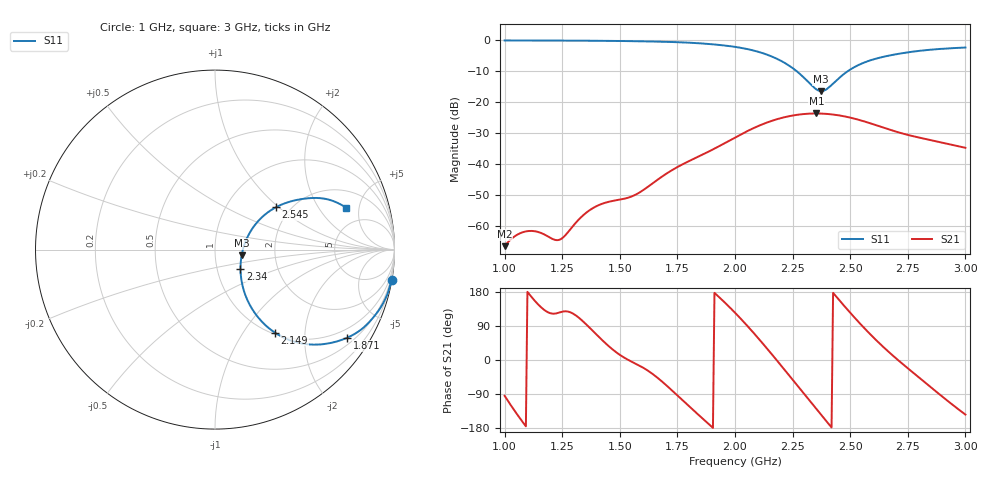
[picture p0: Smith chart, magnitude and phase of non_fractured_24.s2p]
! TOUCHSTONE file generated by CST MICROWAVE STUDIO
! Date and time: Sat Mar  8 13:54:03 2025
! Project name: non_fractured.cst
! Parameters = {B=2.5; D=160; F=10; Feed=2.85625; L=100; M=5; R=0.384908; S=1.5; Theta=270; length=57.125; wave=114.25}
! Header version: 2024
! Port assignment regex: !\s*Touchstone port\s*([0-9]+)\s*=\s*(CST MWS port|CST DES external port|CST DES block port)\s*(.+)\s* \(\"(.*)\"\)(\s*mode\s*([0-9]+))?.*
! Touchstone port assignment:
! Touchstone port 1 = CST MWS port 1 ("")
! Touchstone port 2 = CST MWS port 2 ("")
# GHz S DB R 50
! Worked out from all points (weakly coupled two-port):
!   304 points, 1 GHz to 3 GHz, reference 50 ohm
!   highest |S21| = -23.60 dB at 2.353 GHz (marker M1); lowest = -66.5 dB at 1 GHz (marker M2)
!   lowest |S11| = -16.4 dB at 2.373 GHz (marker M3), VSWR 1.36, Z = 67.3 - j4.34 ohm
!   |S11| at or under -10 dB: 2.269 GHz to 2.488 GHz (219.7 MHz wide, 9.24 % of centre)
!   S12 and S22 are empty: the file has one direction only
!   S11 on the Smith chart (normalised r, x): 1 GHz: 0, -12; 1.871 GHz: 0.70, -3.15; 2.149 GHz: 1.03, -1.41; 2.34 GHz: 1.30, -0.28; 2.545 GHz: 1.69, +0.96; 3 GHz: 3.24, +3.69
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1  -0.02 -9.7  -66.45 -94.4  -200.00 0.0  -200.00 0.0
1.0462  -0.02 -10.4  -63.14 -136.4  -200.00 0.0  -200.00 0.0
1.09901  -0.03 -11.1  -61.60 179.8  -200.00 0.0  -200.00 0.0
1.14521  -0.04 -11.8  -61.86 146.9  -200.00 0.0  -200.00 0.0
1.23762  -0.05 -13.3  -64.39 125.3  -200.00 0.0  -200.00 0.0
1.33663  -0.09 -15.2  -56.77 104.0  -200.00 0.0  -200.00 0.0
1.41584  -0.13 -16.9  -52.97 57.0  -200.00 0.0  -200.00 0.0
1.56766  -0.26 -20.9  -49.85 -9.4  -200.00 0.0  -200.00 0.0
1.66667  -0.40 -24.1  -44.84 -48.4  -200.00 0.0  -200.00 0.0
1.87129  -1.07 -33.8  -36.44 -161.0  -200.00 0.0  -200.00 0.0
2.0033  -2.13 -42.5  -31.23 122.8  -200.00 0.0  -200.00 0.0
2.14851  -4.87 -54.2  -26.26 23.3  -200.00 0.0  -200.00 0.0
2.24752  -8.80 -57.8  -24.30 -50.1  -200.00 0.0  -200.00 0.0
2.33993  -15.03 -36.8  -23.61 -119.5  -200.00 0.0  -200.00 0.0
2.35314  -15.82 -28.0  -23.60 -129.3  -200.00 0.0  -200.00 0.0
2.37294  -16.38 -12.0  -23.63 -144.1  -200.00 0.0  -200.00 0.0
2.39934  -15.66 8.9  -23.74 -163.5  -200.00 0.0  -200.00 0.0
2.46535  -11.28 32.5  -24.40 148.9  -200.00 0.0  -200.00 0.0
2.54455  -7.65 34.8  -25.80 94.9  -200.00 0.0  -200.00 0.0
2.66997  -4.88 29.8  -28.80 19.8  -200.00 0.0  -200.00 0.0
2.83498  -3.10 23.2  -31.96 -64.4  -200.00 0.0  -200.00 0.0
3  -2.30 17.7  -34.68 -144.0  -200.00 0.0  -200.00 0.0
